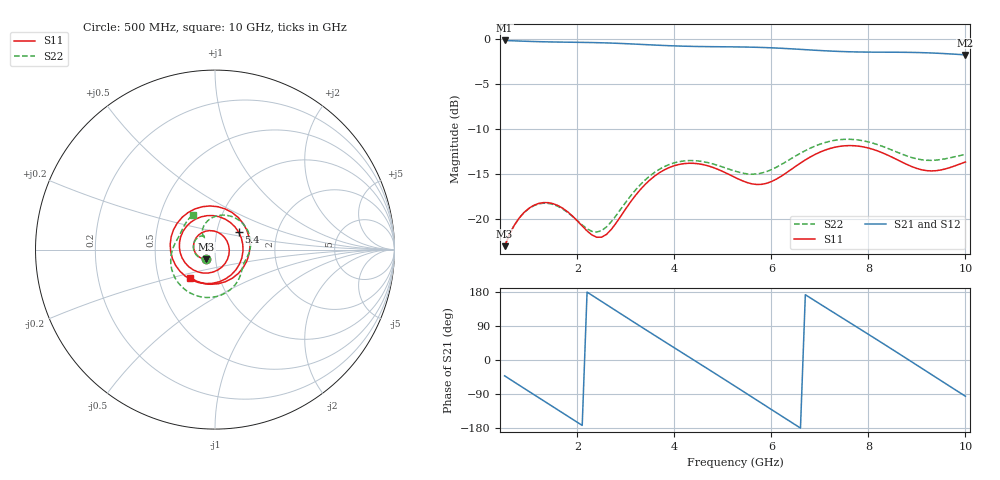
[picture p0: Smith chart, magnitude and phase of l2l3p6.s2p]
! Touchstone file exported from HFSS 3D Layout Design 2026.1.0
!  File:  D:/Work/ADS/HFSS_VERDICT/hfss_sma_connector_cpw.aedt
!  Generated:  02:01:03 PM Aug  6, 2026
!  Design:  SINGLE_END_SMA_CPW_30MM
!  Project:  hfss_sma_connector_cpw
! Variables:
!  $sma_Base_D = 6.25mm
!  $sma_Base_L = 8mm
!  $sma_Feet_L = 4mm
!  $sma_Feet_W = 1mm
!  $sma_Front_L = 1.5mm
!  $sma_Front_W = 6.5mm
!  $sma_Hole_D = 1.25mm
!  $sma_PTFE_D = 4.2mm
!  $sma_Pin_D = 0.95mm
!  $sma_Pin_P = 1.7mm
# GHz S MA R 50.000000
! Terminal data exported
! Port[1] = Port1
! Port[2] = S1_1_Pin_T1
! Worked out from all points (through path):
!   96 points, 500 MHz to 10 GHz, reference 50 ohm
!   highest |S21| = -0.11 dB at 500 MHz (marker M1); lowest = -1.7 dB at 10 GHz (marker M2)
!   group delay of S21, straight-line fit = 226 ps
!   lowest |S11| = -23.0 dB at 500 MHz (marker M3), VSWR 1.15, Z = 45.1 - j4.7 ohm
!   |S11| at or under -10 dB: start of sweep to end of sweep
!   |S22| runs from -22.9 to -11.1 dB; largest |S21 - S12| = 3e-14
!   S11 on the Smith chart (normalised r, x): 500 MHz: 0.90, -0.09; 5.4 GHz: 1.28, +0.25; 10 GHz: 0.72, -0.24
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0.5  0.07094 -133.1  0.9875 -41.8  0.9875 -41.8  0.07124 -132.4
0.9  0.1091 -167.6  0.9781 -74.6  0.9781 -74.6  0.109 -164.7
1.3  0.1239 156.7  0.971 -107.3  0.971 -107.3  0.123 165.7
1.7  0.1152 117.1  0.9666 -139.9  0.9666 -139.9  0.1141 141.1
2.1  0.09183 67.3  0.9634 -172.7  0.9634 -172.7  0.09304 127.3
2.5  0.07961 -1.4  0.9585 154.4  0.9585 154.4  0.08658 129.9
3  0.1147 -82.1  0.9477 113.4  0.9477 113.4  0.1247 124.6
3.7  0.1823 -156.3  0.9281 56.4  0.9281 56.4  0.1905 84.8
4.1  0.2021 167.7  0.9193 24.1  0.9193 24.1  0.2093 57.4
4.5  0.2036 131.7  0.9139 -8.2  0.9139 -8.2  0.211 30.4
5.3  0.1686 48.6  0.909 -73.2  0.909 -73.2  0.1837 -13.4
5.4  0.1639 36.3  0.9082 -81.4  0.9082 -81.4  0.1809 -17.4
5.8  0.1566 -16.9  0.9029 -114.2  0.9029 -114.2  0.1808 -30.9
6.2  0.1735 -70.2  0.8935 -147.0  0.8935 -147.0  0.2015 -45.5
6.9  0.2295 -148.2  0.8713 156.1  0.8713 156.1  0.2555 -82.1
7.3  0.2514 173.1  0.8602 123.9  0.8602 123.9  0.2748 -106.9
7.7  0.2567 135.5  0.8532 91.9  0.8532 91.9  0.2779 -131.9
8.1  0.2448 96.5  0.8503 59.7  0.8503 59.7  0.2649 -155.5
8.5  0.2208 54.1  0.8494 27.3  0.8494 27.3  0.2419 -176.2
9.2  0.1865 -32.8  0.8432 -30.1  0.8432 -30.1  0.213 156.6
9.6  0.1911 -84.7  0.8337 -62.9  0.8337 -62.9  0.2175 141.7
10  0.2084 -131.6  0.8211 -95.6  0.8211 -95.6  0.2297 122.7
